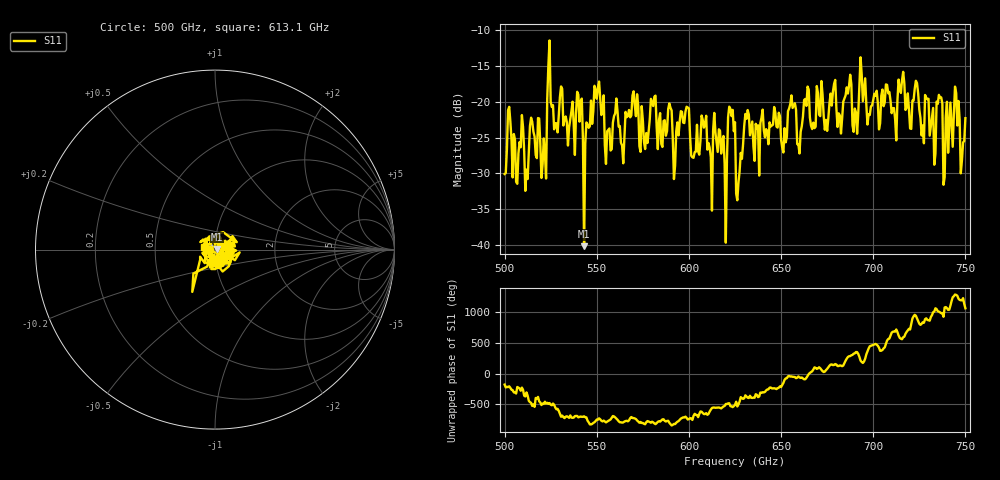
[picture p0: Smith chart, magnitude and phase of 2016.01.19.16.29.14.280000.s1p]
!Created with skrf (http://scikit-rf.org).
# GHz S RI R 50.0
!freq ReS11 ImS11
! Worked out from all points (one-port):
!   401 points, 500 GHz to 750 GHz, reference 50 ohm
!   lowest |S11| = -40.1 dB at 543.1 GHz (marker M1), VSWR 1.02, Z = 50.9 + j0.433 ohm
!   |S11| at or under -10 dB: start of sweep to end of sweep
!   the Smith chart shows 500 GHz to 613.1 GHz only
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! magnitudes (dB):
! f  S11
! 500 GHz  -30.1
! 502.5 GHz  -20.7
! 505.6 GHz  -25.3
! 521.2 GHz  -25.1
! 524.4 GHz  -11.5
! 531.2 GHz  -18.2
! 540.6 GHz  -22.8
! 543.1 GHz  -40.1
! 550 GHz  -19.6
! 555.6 GHz  -24.1
! 562.5 GHz  -23.4
! 570.6 GHz  -20.5
! 576.9 GHz  -24.4
! 580.6 GHz  -20.6
! 593.8 GHz  -22.9
! 608.1 GHz  -23.6
! 619.4 GHz  -28.7
! 622.5 GHz  -21.0
! 625 GHz  -22.9
! 626.9 GHz  -31.3
! 631.2 GHz  -22.4
! 651.2 GHz  -27.1
! 656.2 GHz  -20.9
! 660 GHz  -27.2
! 663.8 GHz  -20.6
! 687.5 GHz  -16.2
! 718.8 GHz  -18.8
! 750 GHz  -22.3
